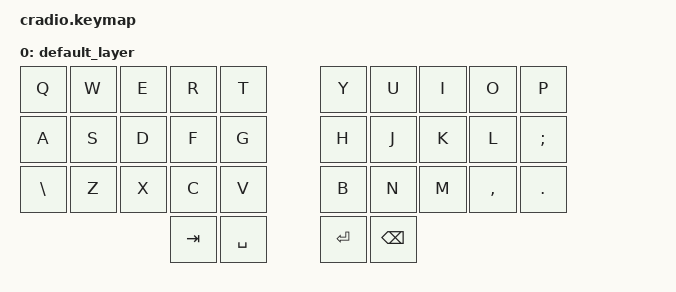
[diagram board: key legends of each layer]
// Copyright (c) 2022 The ZMK Contributors 
// SPDX-License-Identifier: MIT

#include <behaviors.dtsi>
#include <dt-bindings/zmk/keys.h>
#include <dt-bindings/zmk/bt.h>


/ {
    behaviors {
        ht: hold_tap {
            compatible = "zmk,behavior-hold-tap";
            #binding-cells = <2>;
            flavor = "tap-preferred";
            tapping-term-ms = <220>;
            quick-tap-ms = <150>;
            require-prior-idle-ms = <100>;
            bindings = <&kp>, <&kp>;
        };
    };


    keymap {
        compatible = "zmk,keymap";
        default_layer {
            bindings = <
        //╭──────────┬──────────┬──────────┬──────────┬──────────╮   ╭──────────┬──────────┬──────────┬──────────┬──────────╮    │
            &kp Q      &kp W      &kp E      &kp R      &kp T          &kp Y      &kp U      &kp I      &kp O      &kp P
        //├──────────┼──────────┼──────────┼──────────┼──────────┤   ├──────────┼──────────┼──────────┼──────────┼──────────┤
            &kp A      &kp S      &kp D      &kp F      &kp G          &kp H      &kp J      &kp K      &kp L      &kp SEMI
        //├──────────┼──────────┼──────────┼──────────┼──────────┤   ├──────────┼──────────┼──────────┼──────────┼──────────┤
            &kp BSLH   &kp Z      &kp X      &kp C      &kp V          &kp B      &kp N      &kp M      &kp COMMA  &kp DOT 
        //╰──────────┴──────────┴──────────┼──────────┼──────────┤   ├──────────┼──────────┼──────────┴──────────┴──────────╯
                                             &kp TAB    &kp SPACE     &kp ENTER   &kp BSPC
        //                                 ╰──────────┴──────────╯   ╰──────────┴──────────╯
            >;
        };
    };
};
